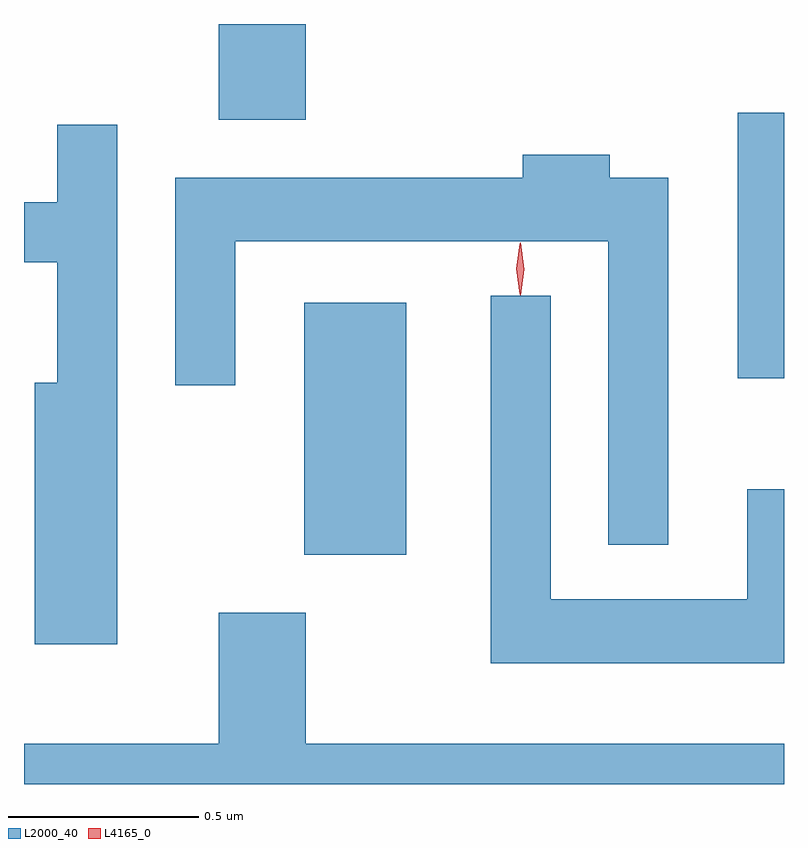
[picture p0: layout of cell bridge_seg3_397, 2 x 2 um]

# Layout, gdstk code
import gdstk
lib = gdstk.Library(unit=1e-6, precision=1e-09)
def R(c, l, rs):  # rectangles x0, y0, x1, y1
    for r in rs: c.add(gdstk.rectangle(r[:2], r[2:], *l))
def P(c, l, *ps):  # polygons
    for p in ps: c.add(gdstk.Polygon(p, *l))
L2000_40 = (2000, 40)
L4165_0 = (4165, 0)

bridge_seg3_397 = lib.new_cell('bridge_seg3_397')
R(bridge_seg3_397, L2000_40, [(571.206,1142.321,571.474,1142.984), (572.346,1142.786,572.468,1143.484), (570.981,1143.466,571.209,1143.718)])
P(bridge_seg3_397, L2000_40, [(570.714,1143.453),(570.556,1143.453),(570.556,1143.249),(570.468,1143.249),(570.468,1143.091),(570.556,1143.091),(570.556,1142.774),(570.496,1142.774),(570.496,1142.086),(570.714,1142.086)],
  [(572.164,1143.314),(572.009,1143.314),(572.009,1143.374),(571.781,1143.374),(571.781,1143.314),(570.866,1143.314),(570.866,1142.768),(571.024,1142.768),(571.024,1143.146),(572.006,1143.146),(572.006,1142.348),(572.164,1142.348)],
  [(572.468,1142.494),(572.371,1142.494),(572.371,1142.204),(571.854,1142.204),(571.854,1143.003),(571.696,1143.003),(571.696,1142.036),(572.468,1142.036)],
  [(572.468,1141.824),(571.209,1141.824),(571.209,1142.169),(570.981,1142.169),(570.981,1141.824),(570.468,1141.824),(570.468,1141.718),(572.468,1141.718)])
P(bridge_seg3_397, L4165_0, [(571.773,1143.007),(571.764,1143.074),(571.773,1143.14),(571.774,1143.14),(571.774,1143.14),(571.783,1143.074),(571.774,1143.007),(571.774,1143.007)],
  [(571.774,1143.004),(571.765,1143.073),(571.774,1143.142),(571.775,1143.143),(571.775,1143.142),(571.785,1143.073),(571.775,1143.004),(571.775,1143.004)])

lib.write_gds('bridge_seg3_397.gds')
